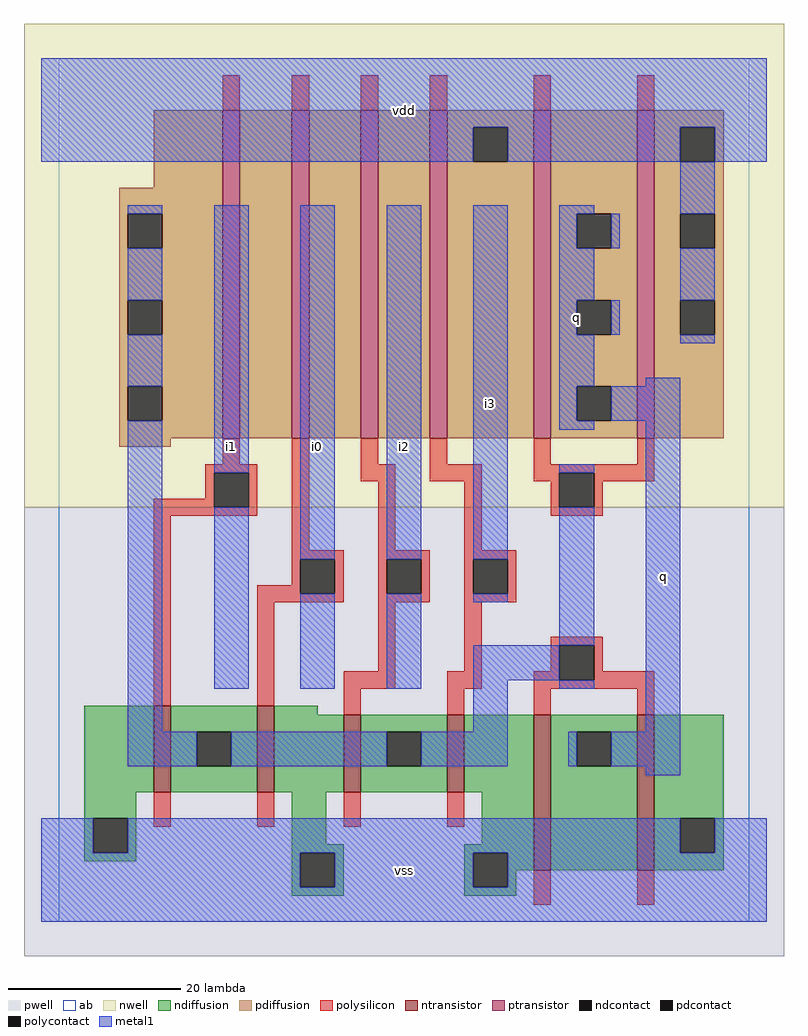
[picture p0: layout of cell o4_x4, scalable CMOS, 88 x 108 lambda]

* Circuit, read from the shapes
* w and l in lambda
.subckt o4_x4 i0 i1 i2 i3 q vdd vss
M1 n1 i1 vss VSUBS nfet w=10 l=2
M2 vss i0 n1 VSUBS nfet w=10 l=2
M3 n1 i2 vss VSUBS nfet w=9 l=2
M4 vss i3 n1 VSUBS nfet w=9 l=2
M5 q n1 vss VSUBS nfet w=18 l=2 m=2
M6 n2 i1 n1 n3 pfet w=38 l=2
M7 n4 i0 n2 n3 pfet w=38 l=2
M8 n5 i2 n4 n3 pfet w=38 l=2
M9 vdd i3 n5 n3 pfet w=38 l=2
M10 q n1 vdd n3 pfet w=38 l=2 m=2
.ends

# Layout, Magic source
magic
tech scmos
<< ab >>
rect 0 0 80 100
<< pwell >>
rect -4 -4 84 48
<< nwell >>
rect -4 48 84 104
<< polysilicon >>
rect 19 94 21 98
rect 27 94 29 98
rect 35 94 37 98
rect 43 94 45 98
rect 55 94 57 98
rect 67 94 69 98
rect 19 53 21 56
rect 17 52 23 53
rect 17 49 18 52
rect 11 48 18 49
rect 22 48 23 52
rect 11 47 23 48
rect 11 25 13 47
rect 27 43 29 56
rect 35 53 37 56
rect 43 53 45 56
rect 55 53 57 56
rect 67 53 69 56
rect 35 51 39 53
rect 43 51 49 53
rect 55 52 69 53
rect 55 51 58 52
rect 37 43 39 51
rect 47 43 49 51
rect 57 48 58 51
rect 62 51 69 52
rect 62 48 63 51
rect 57 47 63 48
rect 27 42 33 43
rect 27 39 28 42
rect 23 38 28 39
rect 32 38 33 42
rect 23 37 33 38
rect 37 42 43 43
rect 37 38 38 42
rect 42 38 43 42
rect 37 37 43 38
rect 47 42 53 43
rect 47 38 48 42
rect 52 38 53 42
rect 47 37 53 38
rect 23 25 25 37
rect 37 29 39 37
rect 47 29 49 37
rect 57 32 63 33
rect 57 29 58 32
rect 33 27 39 29
rect 45 27 49 29
rect 55 28 58 29
rect 62 29 63 32
rect 62 28 69 29
rect 55 27 69 28
rect 33 24 35 27
rect 45 24 47 27
rect 55 24 57 27
rect 67 24 69 27
rect 11 11 13 15
rect 23 11 25 15
rect 33 11 35 15
rect 45 11 47 15
rect 55 2 57 6
rect 67 2 69 6
<< ndiffusion >>
rect 3 15 11 25
rect 13 22 23 25
rect 13 18 16 22
rect 20 18 23 22
rect 13 15 23 18
rect 25 24 30 25
rect 25 15 33 24
rect 35 22 45 24
rect 35 18 38 22
rect 42 18 45 22
rect 35 15 45 18
rect 47 15 55 24
rect 3 12 9 15
rect 3 8 4 12
rect 8 8 9 12
rect 3 7 9 8
rect 27 9 31 15
rect 49 9 55 15
rect 27 8 33 9
rect 27 4 28 8
rect 32 4 33 8
rect 27 3 33 4
rect 47 8 55 9
rect 47 4 48 8
rect 52 6 55 8
rect 57 22 67 24
rect 57 18 60 22
rect 64 18 67 22
rect 57 6 67 18
rect 69 12 77 24
rect 69 8 72 12
rect 76 8 77 12
rect 69 6 77 8
rect 52 4 53 6
rect 47 3 53 4
<< pdiffusion >>
rect 11 85 19 94
rect 7 82 19 85
rect 7 78 8 82
rect 12 78 19 82
rect 7 72 19 78
rect 7 68 8 72
rect 12 68 19 72
rect 7 62 19 68
rect 7 58 8 62
rect 12 58 19 62
rect 7 56 19 58
rect 21 56 27 94
rect 29 56 35 94
rect 37 56 43 94
rect 45 92 55 94
rect 45 88 48 92
rect 52 88 55 92
rect 45 56 55 88
rect 57 82 67 94
rect 57 78 60 82
rect 64 78 67 82
rect 57 72 67 78
rect 57 68 60 72
rect 64 68 67 72
rect 57 62 67 68
rect 57 58 60 62
rect 64 58 67 62
rect 57 56 67 58
rect 69 92 77 94
rect 69 88 72 92
rect 76 88 77 92
rect 69 82 77 88
rect 69 78 72 82
rect 76 78 77 82
rect 69 72 77 78
rect 69 68 72 72
rect 76 68 77 72
rect 69 56 77 68
rect 7 55 13 56
<< metal1 >>
rect -2 92 82 100
rect -2 88 48 92
rect 52 88 72 92
rect 76 88 82 92
rect 8 82 12 83
rect 8 72 12 78
rect 8 62 12 68
rect 8 22 12 58
rect 18 52 22 83
rect 18 27 22 48
rect 28 42 32 83
rect 28 27 32 38
rect 38 42 42 83
rect 38 27 42 38
rect 48 42 52 83
rect 58 82 62 83
rect 72 82 76 88
rect 58 78 60 82
rect 64 78 65 82
rect 58 72 62 78
rect 72 72 76 78
rect 58 68 60 72
rect 64 68 65 72
rect 58 62 62 68
rect 72 67 76 68
rect 68 62 72 63
rect 58 58 60 62
rect 64 58 72 62
rect 58 57 62 58
rect 48 37 52 38
rect 58 52 62 53
rect 58 32 62 48
rect 48 28 58 32
rect 48 22 52 28
rect 58 27 62 28
rect 68 22 72 58
rect 8 18 16 22
rect 20 18 38 22
rect 42 18 52 22
rect 59 18 60 22
rect 64 18 72 22
rect 68 17 72 18
rect -2 8 4 12
rect 8 8 72 12
rect 76 8 82 12
rect -2 4 28 8
rect 32 4 48 8
rect 52 4 82 8
rect -2 0 82 4
<< ntransistor >>
rect 11 15 13 25
rect 23 15 25 25
rect 33 15 35 24
rect 45 15 47 24
rect 55 6 57 24
rect 67 6 69 24
<< ptransistor >>
rect 19 56 21 94
rect 27 56 29 94
rect 35 56 37 94
rect 43 56 45 94
rect 55 56 57 94
rect 67 56 69 94
<< polycontact >>
rect 18 48 22 52
rect 58 48 62 52
rect 28 38 32 42
rect 38 38 42 42
rect 48 38 52 42
rect 58 28 62 32
<< ndcontact >>
rect 16 18 20 22
rect 38 18 42 22
rect 4 8 8 12
rect 28 4 32 8
rect 48 4 52 8
rect 60 18 64 22
rect 72 8 76 12
<< pdcontact >>
rect 8 78 12 82
rect 8 68 12 72
rect 8 58 12 62
rect 48 88 52 92
rect 60 78 64 82
rect 60 68 64 72
rect 60 58 64 62
rect 72 88 76 92
rect 72 78 76 82
rect 72 68 76 72
<< labels >>
rlabel metal1 20 55 20 55 6 i1
rlabel metal1 30 55 30 55 6 i0
rlabel metal1 40 6 40 6 6 vss
rlabel metal1 40 55 40 55 6 i2
rlabel metal1 50 60 50 60 6 i3
rlabel metal1 40 94 40 94 6 vdd
rlabel metal1 70 40 70 40 6 q
rlabel metal1 60 70 60 70 6 q
<< end >>
